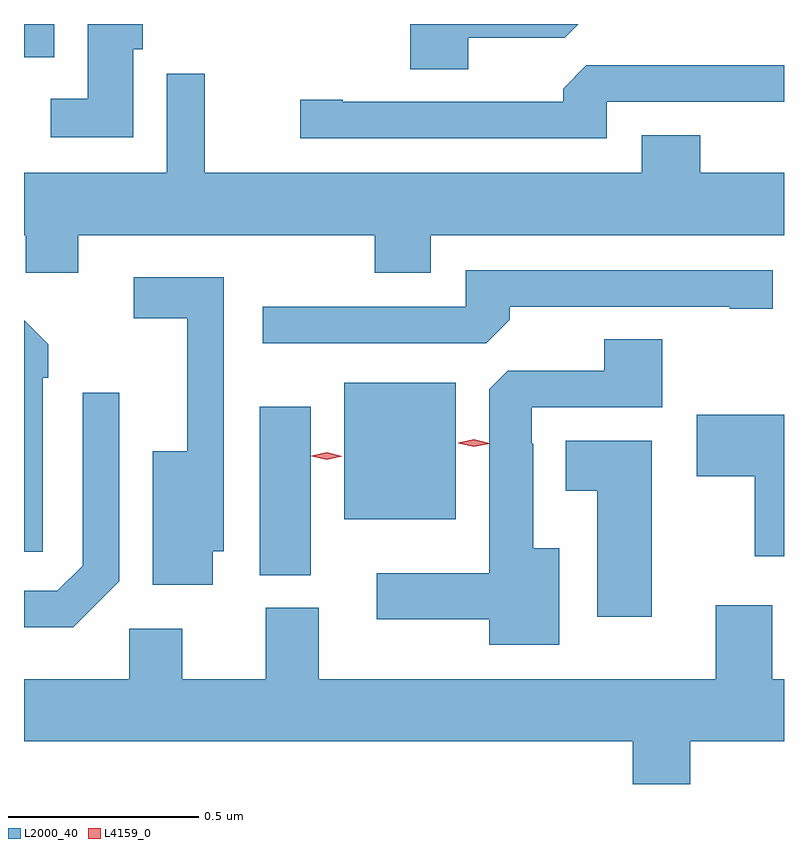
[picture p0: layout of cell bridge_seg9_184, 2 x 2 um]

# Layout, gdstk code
import gdstk
lib = gdstk.Library(unit=1e-6, precision=1e-09)
def R(c, l, rs):  # rectangles x0, y0, x1, y1
    for r in rs: c.add(gdstk.rectangle(r[:2], r[2:], *l))
def P(c, l, *ps):  # polygons
    for p in ps: c.add(gdstk.Polygon(p, *l))
L2000_40 = (2000, 40)
L4159_0 = (4159, 0)

bridge_seg9_184 = lib.new_cell('bridge_seg9_184')
R(bridge_seg9_184, L2000_40, [(139.388,1244.809,139.522,1245.253), (139.61,1244.957,139.903,1245.316), (138.767,1246.173,138.847,1246.26)])
P(bridge_seg9_184, L2000_40, [(139.054,1246.194),(139.08,1246.194),(139.08,1246.26),(138.935,1246.26),(138.935,1246.063),(138.837,1246.063),(138.837,1245.962),(139.054,1245.962)],
  [(139.936,1246.224),(140.19,1246.224),(140.226,1246.26),(139.784,1246.26),(139.784,1246.141),(139.936,1246.141)],
  [(140.301,1246.056),(140.767,1246.056),(140.767,1246.152),(140.247,1246.152),(140.186,1246.09),(140.186,1246.056),(139.606,1246.056),(139.606,1246.061),(139.494,1246.061),(139.494,1245.96),(140.301,1245.96)],
  [(139.837,1245.704),(140.767,1245.704),(140.767,1245.868),(140.546,1245.868),(140.546,1245.967),(140.393,1245.967),(140.393,1245.868),(139.242,1245.868),(139.242,1246.129),(139.143,1246.129),(139.143,1245.868),(138.767,1245.868),(138.767,1245.704),(138.771,1245.704),(138.771,1245.606),(138.91,1245.606),(138.91,1245.704),(139.69,1245.704),(139.69,1245.605),(139.837,1245.605)],
  [(140.045,1245.482),(140.045,1245.516),(140.624,1245.516),(140.624,1245.511),(140.737,1245.511),(140.737,1245.612),(139.929,1245.612),(139.929,1245.516),(139.395,1245.516),(139.395,1245.42),(139.983,1245.42)],
  [(139.264,1244.873),(139.293,1244.873),(139.293,1245.594),(139.056,1245.594),(139.056,1245.486),(139.196,1245.486),(139.196,1245.136),(139.106,1245.136),(139.106,1244.784),(139.264,1244.784)],
  [(138.816,1245.329),(138.831,1245.329),(138.831,1245.417),(138.767,1245.481),(138.767,1244.871),(138.816,1244.871)],
  [(140.176,1244.881),(140.107,1244.881),(140.107,1245.155),(140.103,1245.155),(140.103,1245.252),(140.447,1245.252),(140.447,1245.431),(140.294,1245.431),(140.294,1245.348),(140.04,1245.348),(139.991,1245.299),(139.991,1244.815),(139.695,1244.815),(139.695,1244.693),(139.991,1244.693),(139.991,1244.627),(140.176,1244.627)],
  [(139.017,1244.793),(139.017,1245.289),(138.921,1245.289),(138.921,1244.835),(138.855,1244.769),(138.767,1244.769),(138.767,1244.672),(138.896,1244.672)],
  [(140.767,1245.232),(140.538,1245.232),(140.538,1245.07),(140.69,1245.07),(140.69,1244.859),(140.767,1244.859)],
  [(140.419,1245.163),(140.192,1245.163),(140.192,1245.032),(140.276,1245.032),(140.276,1244.7),(140.419,1244.7)],
  [(140.52,1244.372),(140.767,1244.372),(140.767,1244.536),(140.736,1244.536),(140.736,1244.731),(140.588,1244.731),(140.588,1244.536),(139.543,1244.536),(139.543,1244.724),(139.403,1244.724),(139.403,1244.536),(139.183,1244.536),(139.183,1244.668),(139.044,1244.668),(139.044,1244.536),(138.767,1244.536),(138.767,1244.372),(140.369,1244.372),(140.369,1244.26),(140.52,1244.26)])
P(bridge_seg9_184, L4159_0, [(139.951,1245.147),(139.91,1245.157),(139.91,1245.158),(139.91,1245.158),(139.951,1245.167),(139.992,1245.157),(139.992,1245.157),(139.992,1245.156)],
  [(139.564,1245.113),(139.524,1245.123),(139.524,1245.124),(139.524,1245.124),(139.564,1245.133),(139.604,1245.123),(139.604,1245.123),(139.604,1245.122)])

lib.write_gds('bridge_seg9_184.gds')
